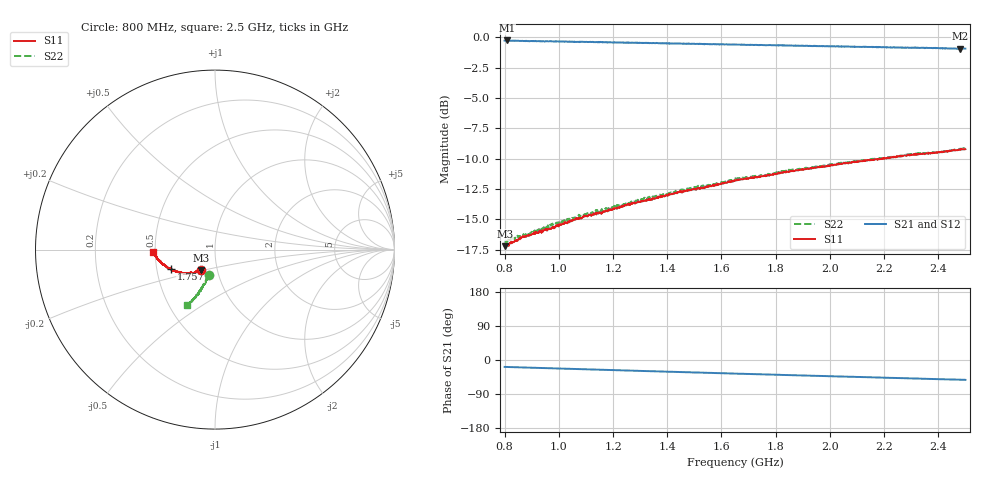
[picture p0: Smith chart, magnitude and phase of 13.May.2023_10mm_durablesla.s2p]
!Keysight Technologies N9950B: A.12.38
!Date: Saturday, 13 May 2023 13:23:51
!Timezone: (UTC-06:00) Central Time (US & Canada)
!Model: N9950B
!Serial: MY61131330
!GPS Latitude:
!GPS Longitude:
!GPS TimeStamp: 0001-01-01 00:00:00Z
!GPS Seconds Since Last Read: 0
!CHECKSUM:1663554856
!Correction: S11(ON U)S21(ON U)S12(ON U)S22(ON U)
!S2P File: Measurements:S11,S21,S12,S22:
# Hz S DB R 50
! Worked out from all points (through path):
!   1001 points, 800 MHz to 2.5 GHz, reference 50 ohm
!   highest |S21| = -0.25 dB at 808.5 MHz (marker M1); lowest = -0.9 dB at 2.481 GHz (marker M2)
!   group delay of S21, straight-line fit = 55.7 ps
!   lowest |S11| = -17.2 dB at 801.7 MHz (marker M3), VSWR 1.32, Z = 41.8 - j9.72 ohm
!   |S11| at or under -10 dB: start of sweep to 2.19 GHz; 2.19111 GHz to 2.194327 GHz (3.217 MHz wide, 0.147 % of centre); 2.198318 GHz to 2.199401 GHz (1.083 MHz wide, 0.0492 % of centre)
!   |S22| runs from -16.9 to -9.1 dB; largest |S21 - S12| = 0.0051
!   S11 on the Smith chart (normalised r, x): 800 MHz: 0.83, -0.19; 1.757 GHz: 0.59, -0.14; 2.5 GHz: 0.49, -0.01
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8e8  -17.19 -124.5  -0.26 -18.2  -0.27 -18.2  -16.83 -104.5
8.017e8  -17.21 -124.1  -0.26 -18.2  -0.26 -18.2  -16.82 -104.0
8.085e8  -17.13 -125.0  -0.25 -18.4  -0.28 -18.4  -16.87 -104.7
8.663e8  -16.40 -126.2  -0.28 -19.6  -0.30 -19.7  -16.32 -104.0
9.768e8  -15.65 -130.7  -0.32 -22.0  -0.33 -22.1  -15.35 -105.5
1.0839e9  -14.91 -133.7  -0.36 -24.3  -0.37 -24.3  -14.73 -106.6
1.1383e9  -14.60 -136.8  -0.39 -25.4  -0.40 -25.4  -14.28 -106.8
1.2488e9  -13.85 -139.7  -0.43 -27.6  -0.44 -27.7  -13.76 -107.8
1.3678e9  -13.22 -143.2  -0.49 -30.2  -0.50 -30.1  -13.07 -108.1
1.4732e9  -12.65 -147.1  -0.53 -32.2  -0.52 -32.4  -12.47 -109.5
1.5684e9  -12.24 -149.6  -0.56 -34.2  -0.56 -34.2  -12.15 -110.2
1.65e9  -11.80 -152.8  -0.59 -35.9  -0.60 -35.8  -11.70 -110.9
1.7571e9  -11.41 -156.2  -0.64 -38.0  -0.65 -38.0  -11.36 -111.1
1.8404e9  -11.02 -158.1  -0.67 -39.6  -0.67 -39.7  -10.97 -112.3
1.9339e9  -10.80 -161.7  -0.72 -41.5  -0.71 -41.5  -10.71 -112.8
2.0478e9  -10.41 -164.1  -0.75 -43.7  -0.77 -43.7  -10.38 -113.8
2.1379e9  -10.13 -167.7  -0.79 -45.4  -0.80 -45.4  -10.10 -114.1
2.2178e9  -9.94 -169.4  -0.82 -47.1  -0.83 -47.0  -9.90 -114.8
2.3181e9  -9.63 -172.9  -0.85 -48.9  -0.87 -48.8  -9.59 -115.3
2.4082e9  -9.46 -174.9  -0.91 -50.6  -0.91 -50.7  -9.48 -116.2
2.4813e9  -9.27 -177.4  -0.93 -52.0  -0.93 -52.1  -9.18 -116.7
2.5e9  -9.22 -177.9  -0.93 -52.4  -0.94 -52.3  -9.17 -116.5
